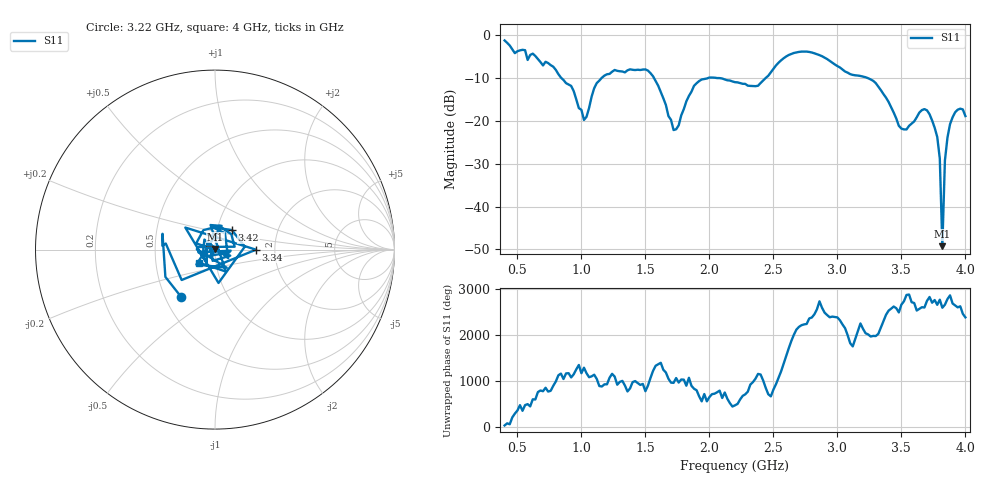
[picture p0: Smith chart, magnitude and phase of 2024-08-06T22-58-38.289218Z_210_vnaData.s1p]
!Created with skrf (http://scikit-rf.org).
# Hz S RI R 50.0
!freq ReS11 ImS11
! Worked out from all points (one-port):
!   181 points, 400 MHz to 4 GHz, reference 50 ohm
!   lowest |S11| = -49.3 dB at 3.82 GHz (marker M1), VSWR 1.01, Z = 50.1 + j0.324 ohm
!   |S11| at or under -10 dB: 1.568 GHz to 1.988 GHz (420.1 MHz wide, 23.6 % of centre); 2.082 GHz to 2.439 GHz (356.6 MHz wide, 15.8 % of centre); 3.238 GHz to end of sweep (the widest 3 of 4)
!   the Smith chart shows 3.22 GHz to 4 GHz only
!   S11 on the Smith chart (normalised r, x): 3.22 GHz: 0.60, -0.36; 3.34 GHz: 1.59, -0.00; 3.42 GHz: 1.18, +0.26; 4 GHz: 0.83, -0.12
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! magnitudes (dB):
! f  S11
! 400 MHz  -1.2
! 860 MHz  -10.4
! 920 MHz  -11.8
! 1.02 GHz  -19.8
! 1.12 GHz  -11.2
! 1.3 GHz  -8.4
! 1.52 GHz  -8.2
! 1.6 GHz  -11.8
! 1.72 GHz  -22.1
! 1.76 GHz  -21.0
! 1.92 GHz  -10.7
! 2.2 GHz  -10.9
! 2.38 GHz  -11.8
! 2.66 GHz  -4.1
! 3.1 GHz  -9.1
! 3.22 GHz  -9.8
! 3.34 GHz  -12.8
! 3.42 GHz  -16.8
! 3.5 GHz  -21.8
! 3.56 GHz  -21.1
! 3.68 GHz  -17.2
! 3.78 GHz  -23.7
! 3.8 GHz  -28.8
! 3.82 GHz  -49.3
! 3.84 GHz  -29.2
! 3.86 GHz  -23.9
! 3.92 GHz  -18.0
! 4 GHz  -18.9
